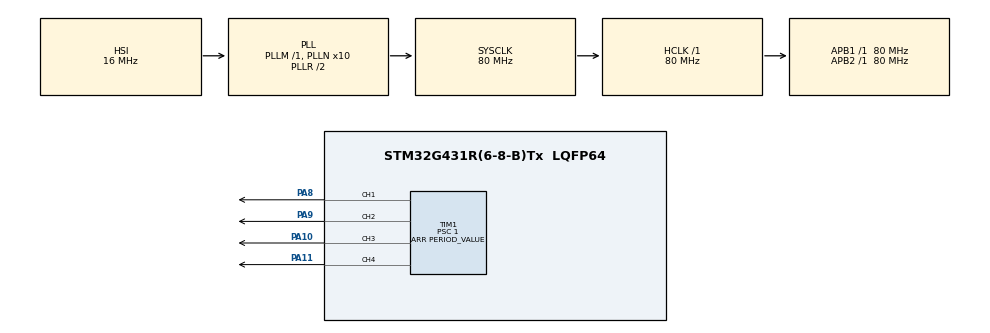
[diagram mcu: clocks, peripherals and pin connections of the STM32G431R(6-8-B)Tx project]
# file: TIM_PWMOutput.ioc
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Mcu.Family=STM32G4
Mcu.Name=STM32G431R(6-8-B)Tx
Mcu.Package=LQFP64
NVIC.PriorityGroup=NVIC_PRIORITYGROUP_4
NVIC.TIM1_TRG_COM_TIM17_IRQn=true\:0\:0\:false\:false\:true\:true\:true\:true
PA10.GPIO_PuPd=GPIO_PULLUP
PA10.GPIO_Speed=GPIO_SPEED_FREQ_VERY_HIGH
PA10.Signal=S_TIM1_CH3
PA11.GPIO_PuPd=GPIO_PULLUP
PA11.GPIO_Speed=GPIO_SPEED_FREQ_VERY_HIGH
PA11.Signal=S_TIM1_CH4
PA13.Mode=Serial_Wire
PA13.Signal=SYS_JTMS-SWDIO
PA14.Mode=Serial_Wire
PA14.Signal=SYS_JTCK-SWCLK
PA8.GPIO_PuPd=GPIO_PULLUP
PA8.GPIO_Speed=GPIO_SPEED_FREQ_VERY_HIGH
PA8.Signal=S_TIM1_CH1
PA9.GPIO_PuPd=GPIO_PULLUP
PA9.GPIO_Speed=GPIO_SPEED_FREQ_VERY_HIGH
PA9.Signal=S_TIM1_CH2
PC14-OSC32_IN.Mode=LSE-External-Oscillator
PC14-OSC32_IN.Signal=RCC_OSC32_IN
PC15-OSC32_OUT.Mode=LSE-External-Oscillator
PC15-OSC32_OUT.Signal=RCC_OSC32_OUT
PF0-OSC_IN.Mode=HSE-External-Oscillator
PF0-OSC_IN.Signal=RCC_OSC_IN
PF1-OSC_OUT.Mode=HSE-External-Oscillator
PF1-OSC_OUT.Signal=RCC_OSC_OUT
ProjectManager.HeapSize=0x200
ProjectManager.StackSize=0x400
ProjectManager.TargetToolchain=STM32CubeIDE
RCC.ADC12Freq_Value=80000000
RCC.AHBFreq_Value=80000000
RCC.APB1Freq_Value=80000000
RCC.APB1TimFreq_Value=80000000
RCC.APB2Freq_Value=80000000
RCC.APB2TimFreq_Value=80000000
RCC.CortexFreq_Value=80000000
RCC.EXTERNAL_CLOCK_VALUE=12288000
RCC.HCLKFreq_Value=80000000
RCC.HSE_VALUE=24000000
RCC.HSI48_VALUE=48000000
RCC.HSI_VALUE=16000000
RCC.PLLN=10
RCC.SYSCLKFreq_VALUE=80000000
RCC.SYSCLKSource=RCC_SYSCLKSOURCE_PLLCLK
RCC.USBFreq_Value=80000000
RCC.VCOOutputFreq_Value=160000000
SH.S_TIM1_CH1.0=TIM1_CH1,PWM Generation1 CH1
SH.S_TIM1_CH2.0=TIM1_CH2,PWM Generation2 CH2
SH.S_TIM1_CH3.0=TIM1_CH3,PWM Generation3 CH3
SH.S_TIM1_CH4.0=TIM1_CH4,PWM Generation4 CH4
TIM1.AutoReloadPreload=TIM_AUTORELOAD_PRELOAD_ENABLE
TIM1.AutomaticOutput=TIM_AUTOMATICOUTPUT_DISABLE
TIM1.Break2Filter=0
TIM1.Break2Polarity=TIM_BREAK2POLARITY_HIGH
TIM1.Break2State=TIM_BREAK2_DISABLE
TIM1.BreakFilter=0
TIM1.BreakPolarity=TIM_BREAKPOLARITY_HIGH
TIM1.BreakState=TIM_BREAK_DISABLE
TIM1.Channel-PWM\ Generation1\ CH1=TIM_CHANNEL_1
TIM1.Channel-PWM\ Generation2\ CH2=TIM_CHANNEL_2
TIM1.Channel-PWM\ Generation3\ CH3=TIM_CHANNEL_3
TIM1.Channel-PWM\ Generation4\ CH4=TIM_CHANNEL_4
TIM1.ClearInputSource=TIM_CLEARINPUTSOURCE_NONE
TIM1.ClockDivision=TIM_CLOCKDIVISION_DIV1
TIM1.CounterMode=TIM_COUNTERMODE_UP
TIM1.LockLevel=TIM_LOCKLEVEL_OFF
TIM1.OCFastMode_PWM-PWM\ Generation1\ CH1=TIM_OCFAST_DISABLE
TIM1.OCFastMode_PWM-PWM\ Generation2\ CH2=TIM_OCFAST_DISABLE
TIM1.OCFastMode_PWM-PWM\ Generation3\ CH3=TIM_OCFAST_DISABLE
TIM1.OCFastMode_PWM-PWM\ Generation4\ CH4=TIM_OCFAST_DISABLE
TIM1.OCIdleState_1=TIM_OCIDLESTATE_RESET
TIM1.OCIdleState_2=TIM_OCIDLESTATE_RESET
TIM1.OCIdleState_3=TIM_OCIDLESTATE_RESET
TIM1.OCIdleState_4=TIM_OCIDLESTATE_RESET
TIM1.OCMode_PWM-PWM\ Generation1\ CH1=TIM_OCMODE_PWM1
TIM1.OCMode_PWM-PWM\ Generation2\ CH2=TIM_OCMODE_PWM1
TIM1.OCMode_PWM-PWM\ Generation3\ CH3=TIM_OCMODE_PWM1
TIM1.OCMode_PWM-PWM\ Generation4\ CH4=TIM_OCMODE_PWM1
TIM1.OCPolarity_1=TIM_OCPOLARITY_HIGH
TIM1.OCPolarity_2=TIM_OCPOLARITY_HIGH
TIM1.OCPolarity_3=TIM_OCPOLARITY_HIGH
TIM1.OCPolarity_4=TIM_OCPOLARITY_HIGH
TIM1.OffStateIDLEMode=TIM_OSSI_DISABLE
TIM1.OffStateRunMode=TIM_OSSR_DISABLE
TIM1.Period=PERIOD_VALUE
TIM1.PeriodNoDither=42500-1
TIM1.Prescaler=1
TIM1.PulseNoDither_1=PULSE1_VALUE
TIM1.PulseNoDither_2=PULSE2_VALUE
TIM1.PulseNoDither_3=PULSE3_VALUE
TIM1.PulseNoDither_4=PULSE4_VALUE
TIM1.RepetitionCounter=0
TIM1.SourceBRK2COMP1=TIM_BREAKINPUTSOURCE_DISABLE
TIM1.SourceBRK2COMP2=TIM_BREAKINPUTSOURCE_DISABLE
TIM1.SourceBRK2DigInput=TIM_BREAKINPUTSOURCE_DISABLE
TIM1.SourceBRKCOMP1=TIM_BREAKINPUTSOURCE_DISABLE
TIM1.SourceBRKCOMP2=TIM_BREAKINPUTSOURCE_DISABLE
TIM1.SourceBRKDigInput=TIM_BREAKINPUTSOURCE_DISABLE
TIM1.TIM_MasterOutputTrigger=TIM_TRGO_RESET
TIM1.TIM_MasterOutputTrigger2=TIM_TRGO2_RESET
TIM1.TIM_MasterSlaveMode=TIM_MASTERSLAVEMODE_DISABLE
VP_SYS_VS_DBSignals.Mode=DisableDeadBatterySignals
VP_TIM17_VS_ClockSourceINT.Mode=Enable_Timer
board=NUCLEO-G431RB

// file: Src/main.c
/* USER CODE BEGIN Header */
/**
  ******************************************************************************
  * @file    TIM/TIM_PWMOutput/Src/main.c
  * @author  MCD Application Team
  * @brief   This sample code shows how to use STM32G4xx TIM HAL API to generate
  *          4 signals in PWM.
  ******************************************************************************
  * @attention
  *
  * Copyright (c) 2019-2021 STMicroelectronics.
  * All rights reserved.
  *
  * This software is licensed under terms that can be found in the LICENSE file
  * in the root directory of this software component.
  * If no LICENSE file comes with this software, it is provided AS-IS.
  *
  ******************************************************************************
  */
/* USER CODE END Header */
#include "main.h"

/* USER CODE BEGIN Includes */
#include "stdio.h"
#include "stm32g4xx_hal_tim.h"
#include <stdbool.h>
/* USER CODE END Includes */

/* USER CODE BEGIN PD */
#define DELAY 10
/* USER CODE END PD */

TIM_HandleTypeDef htim1;
TIM_HandleTypeDef htim17;

/* USER CODE BEGIN PV */
volatile uint32_t millis, millis2; // Variable to count milliseconds
int buttonFlag, interrupt_flag; // Flag to indicate button press
/* USER CODE END PV */

void SystemClock_Config(void);
static void MX_GPIO_Init(void);
static void MX_TIM1_Init(void);
static void MX_TIM17_Init(void);

/* USER CODE BEGIN 0 */
static uint32_t counter1;
int sek, milli_in_sek;
void HAL_TIM_PeriodElapsedCallback(TIM_HandleTypeDef *htim) {
	// check if TIMER x is the one responsible the interrupts
	if(htim->Instance == TIM17){
		millis++; // Increment milliseconds counter
		millis2++;
		counter1++;
		interrupt_flag = 1;
		milli_in_sek++;
		if (milli_in_sek == 1000) {
			sek++;
			milli_in_sek = 0;
		}
		if (HAL_GPIO_ReadPin(GPIOC, GPIO_PIN_13) == GPIO_PIN_SET) {
			printf("millisec: %lu\n ", millis);
		} else {
			printf("LED OFF \r\n");
		}
		// Read button state using HAL function
		buttonFlag = (HAL_GPIO_ReadPin(GPIOC, GPIO_PIN_13) == GPIO_PIN_SET);
	}
}

int duty_cycle;
bool direction = true;
bool pwm_direct = true;
int pwm_cycle;

void PWM_Function() {
	interrupt_flag = 0;
	if (counter1 > DELAY)	{
		counter1 = 0;
		__HAL_TIM_SET_COMPARE(&htim1, TIM_CHANNEL_1,
				(htim1.Init.Period) * pwm_cycle / 100);
		if (pwm_cycle < 100 && pwm_direct == true) {
			pwm_cycle++;
			pwm_direct = true;
		} else if (pwm_cycle > 0 && pwm_direct == false) {
			pwm_cycle--;
			pwm_direct = false;
		} else if (pwm_cycle == 100) {
			pwm_cycle--;
			pwm_direct = false;
		} else if (pwm_cycle == 0) {
			pwm_cycle++;
			pwm_direct = true;
		}
	}
}

/* USER CODE END 0 */

int main(void)
{
  /* USER CODE BEGIN 1 */

  /* STM32G4xx HAL library initialization:
       - Configure the Flash prefetch
       - Systick timer is configured by default as source of time base, but user
         can eventually implement his proper time base source (a general purpose
         timer for example or other time source), keeping in mind that Time base
         duration should be kept 1ms since PPP_TIMEOUT_VALUEs are defined and
         handled in milliseconds basis.
       - Set NVIC Group Priority to 4
       - Low Level Initialization
     */
  /* USER CODE END 1 */

  /* MCU Configuration--------------------------------------------------------*/

  /* Reset of all peripherals, Initializes the Flash interface and the Systick. */
  HAL_Init();

  /* Configure the system clock */
  SystemClock_Config();

  /* USER CODE BEGIN SysInit */

  /* Configure LED2 */
  BSP_LED_Init(LED2);

  /* USER CODE END SysInit */

  /* Initialize all configured peripherals */
  MX_GPIO_Init();
  MX_TIM1_Init();
  MX_TIM17_Init();
  /* USER CODE BEGIN 2 */

/*## Start PWM signals generation #######################################*/
  /* Start channel 1 */
  if (HAL_TIM_PWM_Start(&htim1, TIM_CHANNEL_1) != HAL_OK)
  {
    /* PWM Generation Error */
    Error_Handler();
  }

	HAL_TIM_Base_Init(&htim1);
	HAL_TIM_Base_Start_IT(&htim17);
	HAL_TIM_PWM_Start(&htim1, TIM_CHANNEL_1);

  /* USER CODE END 2 */

  /* Infinite loop */
  /* USER CODE BEGIN WHILE */
  while (1) {

	if(interrupt_flag == 1) {
		PWM_Function();
	}
}

    /* USER CODE END WHILE */

}

void SystemClock_Config(void)
{
  RCC_OscInitTypeDef RCC_OscInitStruct = {0};
  RCC_ClkInitTypeDef RCC_ClkInitStruct = {0};

  /** Configure the main internal regulator output voltage
  */
  HAL_PWREx_ControlVoltageScaling(PWR_REGULATOR_VOLTAGE_SCALE1);

  /** Initializes the RCC Oscillators according to the specified parameters
  * in the RCC_OscInitTypeDef structure.
  */
  RCC_OscInitStruct.OscillatorType = RCC_OSCILLATORTYPE_HSI;
  RCC_OscInitStruct.HSIState = RCC_HSI_ON;
  RCC_OscInitStruct.HSICalibrationValue = RCC_HSICALIBRATION_DEFAULT;
  RCC_OscInitStruct.PLL.PLLState = RCC_PLL_ON;
  RCC_OscInitStruct.PLL.PLLSource = RCC_PLLSOURCE_HSI;
  RCC_OscInitStruct.PLL.PLLM = RCC_PLLM_DIV1;
  RCC_OscInitStruct.PLL.PLLN = 10;
  RCC_OscInitStruct.PLL.PLLP = RCC_PLLP_DIV2;
  RCC_OscInitStruct.PLL.PLLQ = RCC_PLLQ_DIV2;
  RCC_OscInitStruct.PLL.PLLR = RCC_PLLR_DIV2;
  if (HAL_RCC_OscConfig(&RCC_OscInitStruct) != HAL_OK)
  {
    Error_Handler();
  }

  /** Initializes the CPU, AHB and APB buses clocks
  */
  RCC_ClkInitStruct.ClockType = RCC_CLOCKTYPE_HCLK|RCC_CLOCKTYPE_SYSCLK
                              |RCC_CLOCKTYPE_PCLK1|RCC_CLOCKTYPE_PCLK2;
  RCC_ClkInitStruct.SYSCLKSource = RCC_SYSCLKSOURCE_PLLCLK;
  RCC_ClkInitStruct.AHBCLKDivider = RCC_SYSCLK_DIV1;
  RCC_ClkInitStruct.APB1CLKDivider = RCC_HCLK_DIV1;
  RCC_ClkInitStruct.APB2CLKDivider = RCC_HCLK_DIV1;

  if (HAL_RCC_ClockConfig(&RCC_ClkInitStruct, FLASH_LATENCY_2) != HAL_OK)
  {
    Error_Handler();
  }
}

static void MX_TIM1_Init(void)
{

  TIM_MasterConfigTypeDef sMasterConfig = {0};
  TIM_OC_InitTypeDef sConfigOC = {0};
  TIM_BreakDeadTimeConfigTypeDef sBreakDeadTimeConfig = {0};

  htim1.Instance = TIM1;
  htim1.Init.Prescaler = 1;
  htim1.Init.CounterMode = TIM_COUNTERMODE_UP;
  htim1.Init.Period = PERIOD_VALUE;
  htim1.Init.ClockDivision = TIM_CLOCKDIVISION_DIV1;
  htim1.Init.RepetitionCounter = 0;
  htim1.Init.AutoReloadPreload = TIM_AUTORELOAD_PRELOAD_ENABLE;
  if (HAL_TIM_PWM_Init(&htim1) != HAL_OK)
  {
    Error_Handler();
  }
  sMasterConfig.MasterOutputTrigger = TIM_TRGO_RESET;
  sMasterConfig.MasterOutputTrigger2 = TIM_TRGO2_RESET;
  sMasterConfig.MasterSlaveMode = TIM_MASTERSLAVEMODE_DISABLE;
  if (HAL_TIMEx_MasterConfigSynchronization(&htim1, &sMasterConfig) != HAL_OK)
  {
    Error_Handler();
  }
  sConfigOC.OCMode = TIM_OCMODE_PWM1;
  sConfigOC.Pulse = PULSE1_VALUE;
  sConfigOC.OCPolarity = TIM_OCPOLARITY_HIGH;
  sConfigOC.OCNPolarity = TIM_OCNPOLARITY_HIGH;
  sConfigOC.OCFastMode = TIM_OCFAST_DISABLE;
  sConfigOC.OCIdleState = TIM_OCIDLESTATE_RESET;
  sConfigOC.OCNIdleState = TIM_OCNIDLESTATE_RESET;
  if (HAL_TIM_PWM_ConfigChannel(&htim1, &sConfigOC, TIM_CHANNEL_1) != HAL_OK)
  {
    Error_Handler();
  }
  sConfigOC.Pulse = PULSE2_VALUE;
  if (HAL_TIM_PWM_ConfigChannel(&htim1, &sConfigOC, TIM_CHANNEL_2) != HAL_OK)
  {
    Error_Handler();
  }
  sConfigOC.Pulse = PULSE3_VALUE;
  if (HAL_TIM_PWM_ConfigChannel(&htim1, &sConfigOC, TIM_CHANNEL_3) != HAL_OK)
  {
    Error_Handler();
  }
  sConfigOC.Pulse = PULSE4_VALUE;
  if (HAL_TIM_PWM_ConfigChannel(&htim1, &sConfigOC, TIM_CHANNEL_4) != HAL_OK)
  {
    Error_Handler();
  }
  sBreakDeadTimeConfig.OffStateRunMode = TIM_OSSR_DISABLE;
  sBreakDeadTimeConfig.OffStateIDLEMode = TIM_OSSI_DISABLE;
  sBreakDeadTimeConfig.LockLevel = TIM_LOCKLEVEL_OFF;
  sBreakDeadTimeConfig.DeadTime = 0;
  sBreakDeadTimeConfig.BreakState = TIM_BREAK_DISABLE;
  sBreakDeadTimeConfig.BreakPolarity = TIM_BREAKPOLARITY_HIGH;
  sBreakDeadTimeConfig.BreakFilter = 0;
  sBreakDeadTimeConfig.BreakAFMode = TIM_BREAK_AFMODE_INPUT;
  sBreakDeadTimeConfig.Break2State = TIM_BREAK2_DISABLE;
  sBreakDeadTimeConfig.Break2Polarity = TIM_BREAK2POLARITY_HIGH;
  sBreakDeadTimeConfig.Break2Filter = 0;
  sBreakDeadTimeConfig.Break2AFMode = TIM_BREAK_AFMODE_INPUT;
  sBreakDeadTimeConfig.AutomaticOutput = TIM_AUTOMATICOUTPUT_DISABLE;
  if (HAL_TIMEx_ConfigBreakDeadTime(&htim1, &sBreakDeadTimeConfig) != HAL_OK)
  {
    Error_Handler();
  }
  HAL_TIM_MspPostInit(&htim1);

}

static void MX_TIM17_Init(void)
{

  htim17.Instance = TIM17;
  htim17.Init.Prescaler = 40000 -1;;
  htim17.Init.CounterMode = TIM_COUNTERMODE_UP;
  htim17.Init.Period = 1;
  htim17.Init.ClockDivision = TIM_CLOCKDIVISION_DIV1;
  htim17.Init.RepetitionCounter = 0;
  htim17.Init.AutoReloadPreload = TIM_AUTORELOAD_PRELOAD_DISABLE;
  if (HAL_TIM_Base_Init(&htim17) != HAL_OK)
  {
    Error_Handler();
  }

}

static void MX_GPIO_Init(void)
{

  /* GPIO Ports Clock Enable */
  __HAL_RCC_GPIOC_CLK_ENABLE();
  __HAL_RCC_GPIOF_CLK_ENABLE();
  __HAL_RCC_GPIOA_CLK_ENABLE();

}

void Error_Handler(void)
{
  /* USER CODE BEGIN Error_Handler_Debug */
  /* Turn LED2 on */
  BSP_LED_On(LED2);
  while(1)
  {
  }
  /* USER CODE END Error_Handler_Debug */
}
